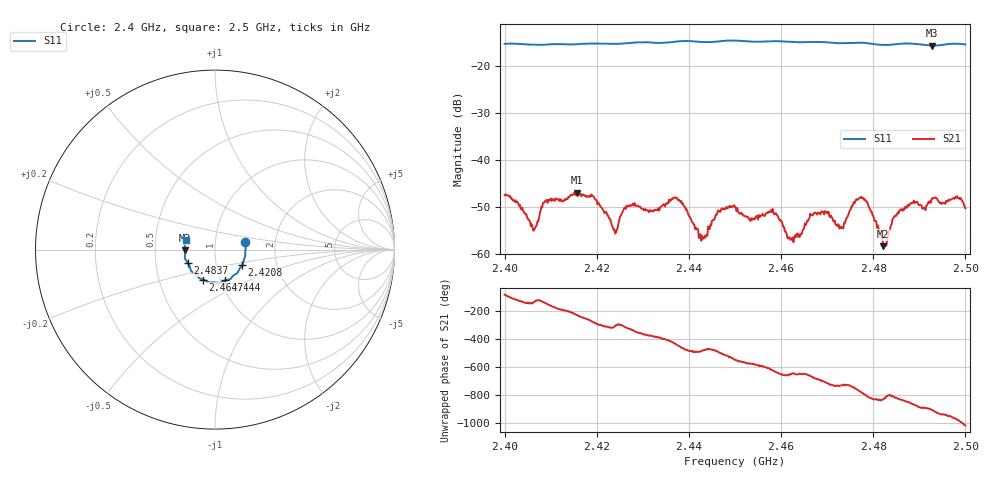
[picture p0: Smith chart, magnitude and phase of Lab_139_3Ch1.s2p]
# Hz S RI R 50
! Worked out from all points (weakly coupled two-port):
!   601 points, 2.4 GHz to 2.5 GHz, reference 50 ohm
!   highest |S21| = -46.99 dB at 2.4157 GHz (marker M1); lowest = -58.4 dB at 2.4822 GHz (marker M2)
!   lowest |S11| = -15.6 dB at 2.4928 GHz (marker M3), VSWR 1.40, Z = 35.8 - j0.356 ohm
!   |S11| at or under -10 dB: start of sweep to end of sweep
!   S12 and S22 are empty: the file has one direction only
!   S11 on the Smith chart (normalised r, x): 2.4 GHz: 1.40, +0.12; 2.4208 GHz: 1.33, -0.24; 2.444 GHz: 1.06, -0.37; 2.4647 GHz: 0.83, -0.29; 2.4837 GHz: 0.73, -0.11; 2.5 GHz: 0.72, +0.08
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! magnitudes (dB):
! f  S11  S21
! 2.4 GHz  -15.2  -47.6
! 2.4065 GHz  -15.4  -54.8
! 2.4088 GHz  -15.4  -48.7
! 2.4157 GHz  -15.3  -47.0
! 2.4167 GHz  -15.3  -47.7
! 2.4208 GHz  -15.2  -50.0
! 2.424 GHz  -15.2  -55.7
! 2.4265 GHz  -15.1  -49.7
! 2.4333 GHz  -15.0  -50.3
! 2.4373 GHz  -14.7  -48.1
! 2.444 GHz  -14.9  -56.1
! 2.45 GHz  -14.5  -50.1
! 2.4622 GHz  -14.8  -57.0
! 2.4647 GHz  -14.9  -55.1
! 2.4667 GHz  -14.8  -51.8
! 2.473 GHz  -15.1  -54.6
! 2.4777 GHz  -15.0  -48.2
! 2.4822 GHz  -15.5  -58.4
! 2.4833 GHz  -15.5  -55.5
! 2.4837 GHz  -15.4  -54.6
! 2.4928 GHz  -15.6  -48.2
! 2.5 GHz  -15.4  -50.3
